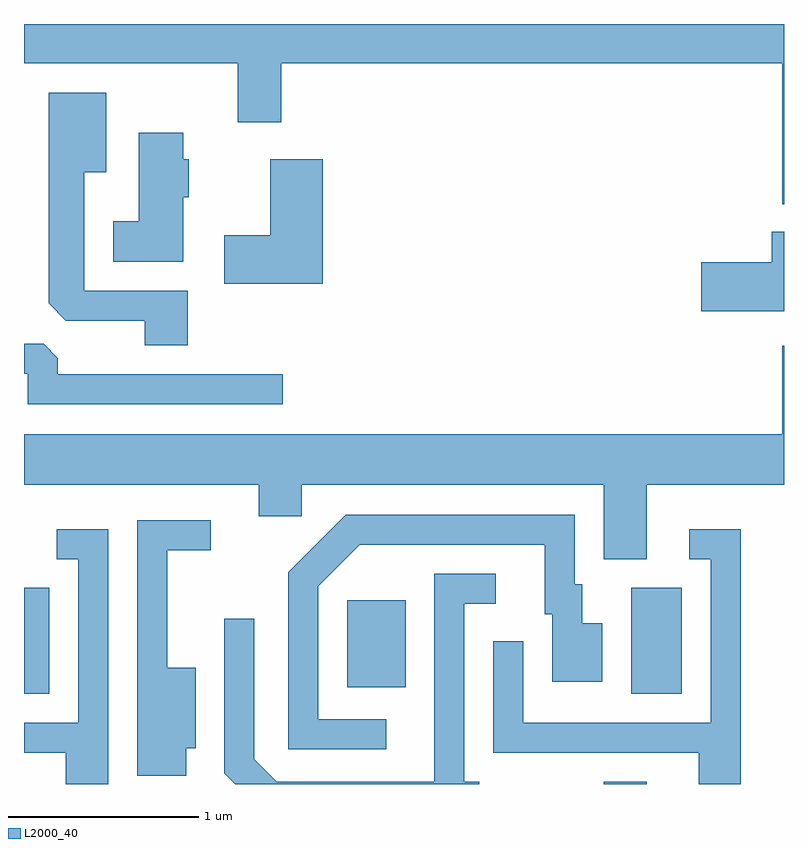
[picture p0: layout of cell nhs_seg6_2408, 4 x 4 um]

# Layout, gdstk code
import gdstk
lib = gdstk.Library(unit=1e-6, precision=1e-09)
def R(c, l, rs):  # rectangles x0, y0, x1, y1
    for r in rs: c.add(gdstk.rectangle(r[:2], r[2:], *l))
def P(c, l, *ps):  # polygons
    for p in ps: c.add(gdstk.Polygon(p, *l))
L2000_40 = (2000, 40)

nhs_seg6_2408 = lib.new_cell('nhs_seg6_2408')
R(nhs_seg6_2408, L2000_40, [(260.661,1626.162,260.889,1626.174), (257.611,1626.636,257.744,1627.194), (260.806,1626.636,261.074,1627.194), (259.311,1626.671,259.619,1627.129)])
P(nhs_seg6_2408, L2000_40, [(261.611,1630.162),(257.611,1630.162),(257.611,1629.956),(258.736,1629.956),(258.736,1629.646),(258.964,1629.646),(258.964,1629.956),(261.601,1629.956),(261.601,1629.213),(261.611,1629.213)],
  [(258.474,1628.759),(257.929,1628.759),(257.929,1629.381),(258.044,1629.381),(258.044,1629.799),(257.741,1629.799),(257.741,1628.692),(257.832,1628.601),(258.246,1628.601),(258.246,1628.471),(258.474,1628.471)],
  [(258.449,1629.251),(258.479,1629.251),(258.479,1629.449),(258.449,1629.449),(258.449,1629.589),(258.216,1629.589),(258.216,1629.124),(258.081,1629.124),(258.081,1628.911),(258.449,1628.911)],
  [(259.184,1629.449),(258.906,1629.449),(258.906,1629.049),(258.666,1629.049),(258.666,1628.796),(259.184,1628.796)],
  [(261.611,1629.069),(261.546,1629.069),(261.546,1628.909),(261.176,1628.909),(261.176,1628.651),(261.611,1628.651)],
  [(258.973,1628.319),(257.789,1628.319),(257.789,1628.404),(257.714,1628.479),(257.611,1628.479),(257.611,1628.321),(257.631,1628.321),(257.631,1628.161),(258.973,1628.161)],
  [(260.889,1627.736),(261.611,1627.736),(261.611,1628.468),(261.601,1628.468),(261.601,1628.004),(257.611,1628.004),(257.611,1627.736),(258.846,1627.736),(258.846,1627.571),(259.074,1627.571),(259.074,1627.736),(260.661,1627.736),(260.661,1627.346),(260.889,1627.346)],
  [(259.517,1626.504),(259.159,1626.504),(259.159,1627.204),(259.377,1627.421),(260.351,1627.421),(260.351,1627.056),(260.391,1627.056),(260.391,1626.701),(260.654,1626.701),(260.654,1627.009),(260.549,1627.009),(260.549,1627.214),(260.509,1627.214),(260.509,1627.579),(259.304,1627.579),(259.001,1627.277),(259.001,1626.346),(259.517,1626.346)],
  [(258.464,1626.351),(258.514,1626.351),(258.514,1626.774),(258.364,1626.774),(258.364,1627.391),(258.593,1627.391),(258.593,1627.549),(258.206,1627.549),(258.206,1626.206),(258.464,1626.206)],
  [(261.384,1627.504),(261.113,1627.504),(261.113,1627.346),(261.226,1627.346),(261.226,1626.484),(260.239,1626.484),(260.239,1626.913),(260.081,1626.913),(260.081,1626.326),(261.161,1626.326),(261.161,1626.162),(261.384,1626.162)],
  [(258.054,1627.504),(257.783,1627.504),(257.783,1627.346),(257.896,1627.346),(257.896,1626.484),(257.611,1626.484),(257.611,1626.326),(257.831,1626.326),(257.831,1626.162),(258.054,1626.162)],
  [(260.008,1626.174),(259.929,1626.174),(259.929,1627.111),(260.093,1627.111),(260.093,1627.269),(259.771,1627.269),(259.771,1626.174),(258.942,1626.174),(258.824,1626.292),(258.824,1627.033),(258.666,1627.033),(258.666,1626.219),(258.723,1626.162),(260.008,1626.162)])

lib.write_gds('nhs_seg6_2408.gds')
